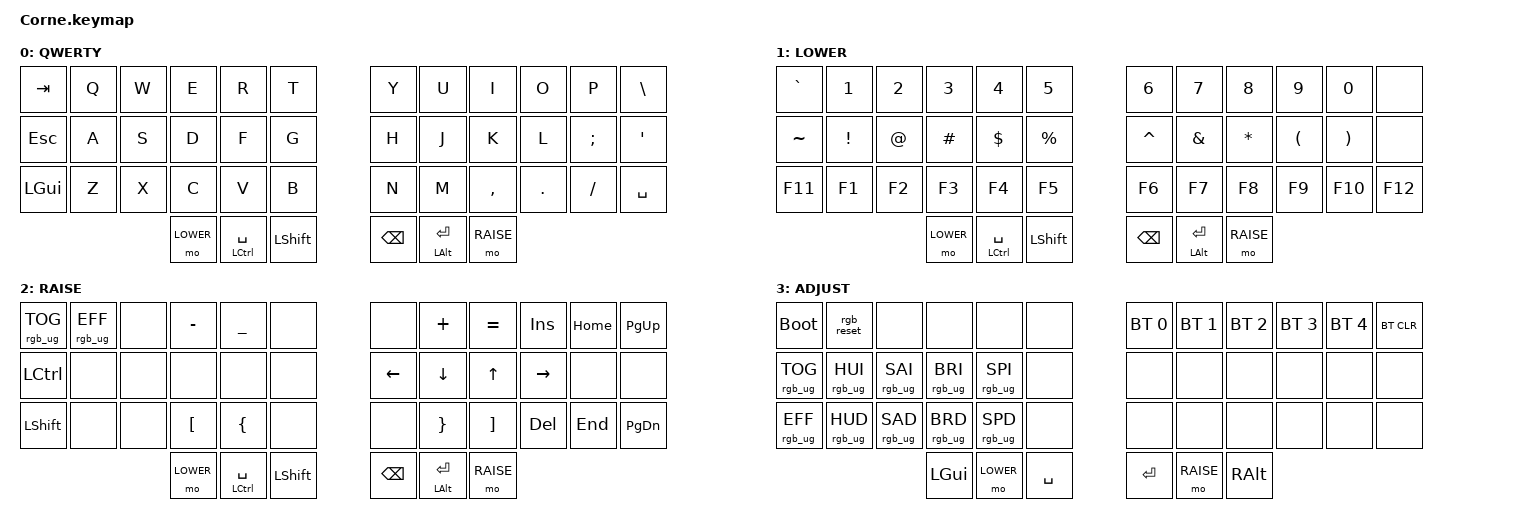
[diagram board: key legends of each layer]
/*
 * Adapted from jimx's QMK crkbd keymap.
 * SPDX-License-Identifier: GPL-2.0-or-later
 */

/*
 * Imported from keyboards/crkbd/keymaps/jimx in qmk_firmware.
 * Source keymap/config are GPL-2.0-or-later.
 * SPDX-License-Identifier: GPL-2.0-or-later
 */

#include <behaviors.dtsi>
#include <dt-bindings/zmk/keys.h>
#include <dt-bindings/zmk/bt.h>
#include <dt-bindings/zmk/rgb.h>

#define QWERTY 0
#define LOWER 1
#define RAISE 2
#define ADJUST 3

// PERMISSIVE_HOLD: resolve nested key taps as holds.
// TAPPING_FORCE_HOLD: a repeated tap can become a hold.
&mt {
    flavor = "balanced";
    tapping-term-ms = <200>;
    quick-tap-ms = <0>;
};

/ {
    conditional_layers {
        compatible = "zmk,conditional-layers";
        adjust {
            if-layers = <LOWER RAISE>;
            then-layer = <ADJUST>;
        };
    };

    macros {
        // QMK RGBRST: enable RGB, solid red, full saturation, capped brightness.
        rgb_reset: rgb_reset {
            compatible = "zmk,behavior-macro";
            #binding-cells = <0>;
            wait-ms = <0>;
            tap-ms = <0>;
            bindings = <&macro_tap>,
                       <&rgb_ug RGB_ON>,
                       <&rgb_ug RGB_EFS_CMD 0>,
                       <&rgb_ug RGB_COLOR_HSB_CMD RGB_COLOR_HSB_VAL(0, 100, 47)>;
        };
    };

    keymap {
        compatible = "zmk,keymap";

        qwerty_layer {
            display-name = "QWERTY";
            bindings = <
                &kp TAB  &kp Q  &kp W  &kp E  &kp R  &kp T  &kp Y  &kp U  &kp I  &kp O  &kp P  &kp BSLH
                &kp ESC  &kp A  &kp S  &kp D  &kp F  &kp G  &kp H  &kp J  &kp K  &kp L  &kp SEMI  &kp SQT
                &kp LGUI  &kp Z  &kp X  &kp C  &kp V  &kp B  &kp N  &kp M  &kp COMMA  &kp DOT  &kp FSLH  &kp SPACE
                &mo LOWER  &mt LCTRL SPACE  &kp LSHFT  &kp BSPC  &mt LALT RET  &mo RAISE
            >;
        };

        lower_layer {
            display-name = "LOWER";
            bindings = <
                &kp GRAVE  &kp N1  &kp N2  &kp N3  &kp N4  &kp N5  &kp N6  &kp N7  &kp N8  &kp N9  &kp N0  &none
                &kp TILDE  &kp EXCL  &kp AT  &kp HASH  &kp DLLR  &kp PRCNT  &kp CARET  &kp AMPS  &kp ASTERISK  &kp LPAR  &kp RPAR  &none
                &kp F11  &kp F1  &kp F2  &kp F3  &kp F4  &kp F5  &kp F6  &kp F7  &kp F8  &kp F9  &kp F10  &kp F12
                &mo LOWER  &mt LCTRL SPACE  &kp LSHFT  &kp BSPC  &mt LALT RET  &mo RAISE
            >;
        };

        raise_layer {
            display-name = "RAISE";
            bindings = <
                &rgb_ug RGB_TOG  &rgb_ug RGB_EFF  &none  &kp MINUS  &kp UNDER  &none  &none  &kp PLUS  &kp EQUAL  &kp INS  &kp HOME  &kp PG_UP
                &kp LCTRL  &none  &none  &none  &none  &none  &kp LEFT  &kp DOWN  &kp UP  &kp RIGHT  &none  &none
                &kp LSHFT  &none  &none  &kp LBKT  &kp LBRC  &none  &none  &kp RBRC  &kp RBKT  &kp DEL  &kp END  &kp PG_DN
                &mo LOWER  &mt LCTRL SPACE  &kp LSHFT  &kp BSPC  &mt LALT RET  &mo RAISE
            >;
        };

        // Adjust: Y/U/I/O/P select Bluetooth profiles 1–5; backslash clears the selected profile.
        adjust_layer {
            display-name = "ADJUST";
            bindings = <
                &bootloader  &rgb_reset  &none  &none  &none  &none  &bt BT_SEL 0  &bt BT_SEL 1  &bt BT_SEL 2  &bt BT_SEL 3  &bt BT_SEL 4  &bt BT_CLR
                &rgb_ug RGB_TOG  &rgb_ug RGB_HUI  &rgb_ug RGB_SAI  &rgb_ug RGB_BRI  &rgb_ug RGB_SPI  &none  &none  &none  &none  &none  &none  &none
                &rgb_ug RGB_EFF  &rgb_ug RGB_HUD  &rgb_ug RGB_SAD  &rgb_ug RGB_BRD  &rgb_ug RGB_SPD  &none  &none  &none  &none  &none  &none  &none
                &kp LGUI  &mo LOWER  &kp SPACE  &kp RET  &mo RAISE  &kp RALT
            >;
        };

        extra1 { status = "reserved"; };
        extra2 { status = "reserved"; };
        extra3 { status = "reserved"; };
        extra4 { status = "reserved"; };
    };
};
